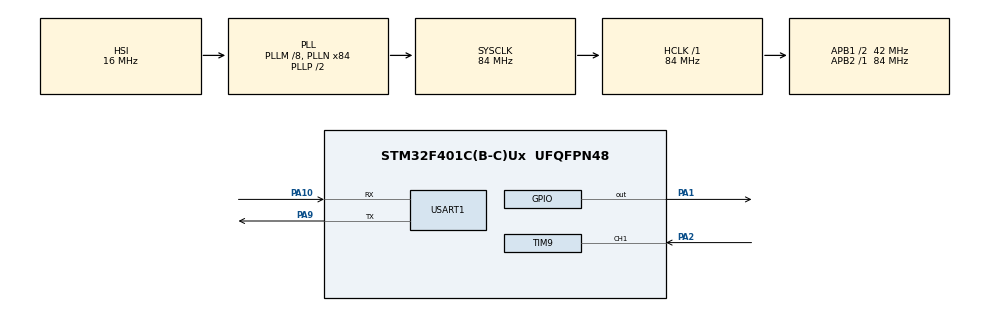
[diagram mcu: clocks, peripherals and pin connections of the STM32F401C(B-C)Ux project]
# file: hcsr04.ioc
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Mcu.Family=STM32F4
Mcu.Name=STM32F401C(B-C)Ux
Mcu.Package=UFQFPN48
NVIC.PriorityGroup=NVIC_PRIORITYGROUP_4
NVIC.TIM1_BRK_TIM9_IRQn=true\:0\:0\:false\:false\:true\:true\:true\:true
PA1.Signal=GPIO_Output
PA10.Mode=Asynchronous
PA10.Signal=USART1_RX
PA13.Mode=Serial_Wire
PA13.Signal=SYS_JTMS-SWDIO
PA14.Mode=Serial_Wire
PA14.Signal=SYS_JTCK-SWCLK
PA2.Signal=S_TIM9_CH1
PA9.Mode=Asynchronous
PA9.Signal=USART1_TX
PH0\ -\ OSC_IN.Mode=HSE-External-Oscillator
PH0\ -\ OSC_IN.Signal=RCC_OSC_IN
PH1\ -\ OSC_OUT.Mode=HSE-External-Oscillator
PH1\ -\ OSC_OUT.Signal=RCC_OSC_OUT
ProjectManager.HeapSize=0x200
ProjectManager.StackSize=0x400
ProjectManager.TargetToolchain=STM32CubeIDE
RCC.48MHZClocksFreq_Value=42000000
RCC.AHBFreq_Value=84000000
RCC.APB1CLKDivider=RCC_HCLK_DIV2
RCC.APB1Freq_Value=42000000
RCC.APB1TimFreq_Value=84000000
RCC.APB2Freq_Value=84000000
RCC.APB2TimFreq_Value=84000000
RCC.CortexFreq_Value=84000000
RCC.HCLKFreq_Value=84000000
RCC.HSE_VALUE=25000000
RCC.HSI_VALUE=16000000
RCC.LSE_VALUE=32768
RCC.PLLM=8
RCC.PLLN=84
RCC.SYSCLKFreq_VALUE=84000000
RCC.SYSCLKSource=RCC_SYSCLKSOURCE_PLLCLK
RCC.VCOOutputFreq_Value=168000000
SH.S_TIM9_CH1.0=TIM9_CH1,Input_Capture1_from_TI1
TIM4.Prescaler=84-1
TIM9.AutoReloadPreload=TIM_AUTORELOAD_PRELOAD_DISABLE
TIM9.Channel-Input_Capture1_from_TI1=TIM_CHANNEL_1
TIM9.ICPolarity_CH1=TIM_INPUTCHANNELPOLARITY_RISING
TIM9.Prescaler=84-1
USART1.VirtualMode=VM_ASYNC
VP_TIM4_VS_ClockSourceINT.Mode=Internal
VP_TIM9_VS_ClockSourceINT.Mode=Internal
board=custom

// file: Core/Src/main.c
/* USER CODE BEGIN Header */
/**
  ******************************************************************************
  * @file           : main.c
  * @brief          : Main program body
  ******************************************************************************
  * @attention
  *
  * Copyright (c) 2024 STMicroelectronics.
  * All rights reserved.
  *
  * This software is licensed under terms that can be found in the LICENSE file
  * in the root directory of this software component.
  * If no LICENSE file comes with this software, it is provided AS-IS.
  *
  ******************************************************************************
  */
/* USER CODE END Header */
#include "main.h"
#include "tim.h"
#include "usart.h"
#include "gpio.h"

/* USER CODE BEGIN PV */
uint8_t uart_send_buffer[32];

uint16_t duration_time = 0;
/* USER CODE END PV */

void SystemClock_Config(void);
/* USER CODE BEGIN PFP */
void uart_send(uint8_t uart_num,char *fmt,...);
void HAL_TIM_IC_CaptureCallback(TIM_HandleTypeDef *htim)
{
	if(htim==&htim9){
		if(htim->Channel == HAL_TIM_ACTIVE_CHANNEL_1){
			 if((htim->Instance->CCER & 0x02) == 0x00){//rising
				 htim->Instance->CNT = 0;
				 __HAL_TIM_SET_CAPTUREPOLARITY(htim,TIM_CHANNEL_1,TIM_INPUTCHANNELPOLARITY_FALLING);
			 }
			 else if((htim->Instance->CCER & 0x02) == 0x02){//falling
				 duration_time = htim->Instance->CCR1;
				 __HAL_TIM_SET_CAPTUREPOLARITY(htim,TIM_CHANNEL_1,TIM_INPUTCHANNELPOLARITY_RISING);
			 }
		}
	}
  UNUSED(htim);
}

void uart_send(uint8_t uart_num,char *fmt,...){
	va_list arg;
	va_start(arg,fmt);
	vsnprintf((char *)uart_send_buffer,32,fmt,arg);

	if(uart_num==1){
		HAL_UART_Transmit(&huart1, uart_send_buffer, 32, 10);
	}

	va_end(arg);
	memset(uart_send_buffer,0,32);
}

void delay_us(uint16_t delay_time){
	htim4.Instance->CNT = 0;
	while(htim4.Instance->CNT<=delay_time);
}

void hcsr_04_send_trig(){
	HAL_GPIO_WritePin(GPIOA, GPIO_PIN_1, GPIO_PIN_SET);
	delay_us(10);
	HAL_GPIO_TogglePin(GPIOA, GPIO_PIN_1);

}

void hcsr_04_capture(uint32_t *pretime){
	if(HAL_GetTick()-*pretime>=100){
	  hcsr_04_send_trig();
	  uart_send(1,"%d %dcm\n",duration_time,duration_time/58);
	  *pretime = HAL_GetTick();
	}
}
/* USER CODE END PFP */

int main(void)
{

  /* MCU Configuration--------------------------------------------------------*/

  /* Reset of all peripherals, Initializes the Flash interface and the Systick. */
  HAL_Init();

  /* Configure the system clock */
  SystemClock_Config();

  /* Initialize all configured peripherals */
  MX_GPIO_Init();
  MX_TIM4_Init();
  MX_TIM9_Init();
  MX_USART1_UART_Init();
  /* USER CODE BEGIN 2 */
  HAL_TIM_Base_Start(&htim4);
  HAL_TIM_IC_Start_IT(&htim9, TIM_CHANNEL_1);
  uint32_t pretime=HAL_GetTick();
  /* USER CODE END 2 */

  /* Infinite loop */
  /* USER CODE BEGIN WHILE */
  while (1)
  {
  	hcsr_04_capture(&pretime);
    /* USER CODE END WHILE */

  }
}

void SystemClock_Config(void)
{
  RCC_OscInitTypeDef RCC_OscInitStruct = {0};
  RCC_ClkInitTypeDef RCC_ClkInitStruct = {0};

  /** Configure the main internal regulator output voltage
  */
  __HAL_RCC_PWR_CLK_ENABLE();
  __HAL_PWR_VOLTAGESCALING_CONFIG(PWR_REGULATOR_VOLTAGE_SCALE2);

  /** Initializes the RCC Oscillators according to the specified parameters
  * in the RCC_OscInitTypeDef structure.
  */
  RCC_OscInitStruct.OscillatorType = RCC_OSCILLATORTYPE_HSI;
  RCC_OscInitStruct.HSIState = RCC_HSI_ON;
  RCC_OscInitStruct.HSICalibrationValue = RCC_HSICALIBRATION_DEFAULT;
  RCC_OscInitStruct.PLL.PLLState = RCC_PLL_ON;
  RCC_OscInitStruct.PLL.PLLSource = RCC_PLLSOURCE_HSI;
  RCC_OscInitStruct.PLL.PLLM = 8;
  RCC_OscInitStruct.PLL.PLLN = 84;
  RCC_OscInitStruct.PLL.PLLP = RCC_PLLP_DIV2;
  RCC_OscInitStruct.PLL.PLLQ = 4;
  if (HAL_RCC_OscConfig(&RCC_OscInitStruct) != HAL_OK)
  {
    Error_Handler();
  }

  /** Initializes the CPU, AHB and APB buses clocks
  */
  RCC_ClkInitStruct.ClockType = RCC_CLOCKTYPE_HCLK|RCC_CLOCKTYPE_SYSCLK
                              |RCC_CLOCKTYPE_PCLK1|RCC_CLOCKTYPE_PCLK2;
  RCC_ClkInitStruct.SYSCLKSource = RCC_SYSCLKSOURCE_PLLCLK;
  RCC_ClkInitStruct.AHBCLKDivider = RCC_SYSCLK_DIV1;
  RCC_ClkInitStruct.APB1CLKDivider = RCC_HCLK_DIV2;
  RCC_ClkInitStruct.APB2CLKDivider = RCC_HCLK_DIV1;

  if (HAL_RCC_ClockConfig(&RCC_ClkInitStruct, FLASH_LATENCY_2) != HAL_OK)
  {
    Error_Handler();
  }
}

void Error_Handler(void)
{
  __disable_irq();
  while (1)
  {
  }
}
